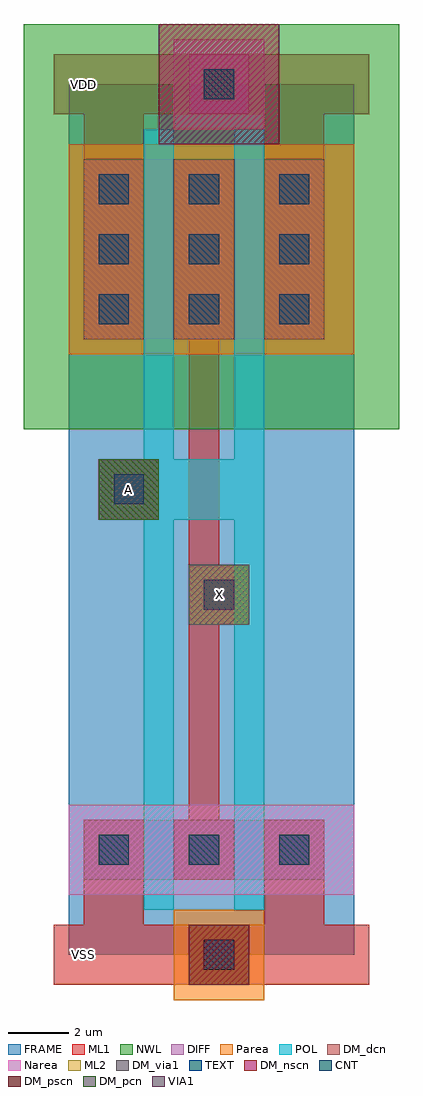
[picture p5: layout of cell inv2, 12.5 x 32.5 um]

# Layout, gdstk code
import gdstk
lib = gdstk.Library(unit=1e-6, precision=1e-09)
def R(c, l, rs):  # rectangles x0, y0, x1, y1
    for r in rs: c.add(gdstk.rectangle(r[:2], r[2:], *l))
NWL = (1, 0)
DIFF = (3, 0)
POL = (5, 0)
CNT = (7, 0)
ML1 = (8, 0)
VIA1 = (9, 0)
ML2 = (10, 0)
TEXT = (13, 0)
FRAME = (14, 0)
Parea = (18, 0)
Narea = (19, 0)
DM_dcn = (101, 0)
DM_pcn = (102, 0)
DM_nscn = (103, 0)
DM_pscn = (104, 0)
DM_via1 = (105, 0)

dcont = lib.new_cell('dcont')
R(dcont, DIFF, [(-1,-1,1,1)])
R(dcont, CNT, [(-0.5,-0.5,0.5,0.5)])
R(dcont, ML1, [(-1,-1,1,1)])
R(dcont, TEXT, [(-0.5,-0.5,0.5,0.5)])
R(dcont, DM_dcn, [(-1,-1,1,1)])
dcont.add(gdstk.Label('dcont', (0,0), layer=13, texttype=0))

nsubcont = lib.new_cell('nsubcont')
R(nsubcont, NWL, [(-2,-2,2,2)])
R(nsubcont, Narea, [(-1.5,-1.5,1.5,1.5)])
R(nsubcont, DM_nscn, [(-2,-2,2,2)])
nsubcont.add(gdstk.Reference(dcont, (0,0)))
nsubcont.add(gdstk.Label('NScont', (0,0), layer=13, texttype=0))

via = lib.new_cell('Via')
R(via, ML1, [(-1,-1,1,1)])
R(via, VIA1, [(-0.5,-0.5,0.5,0.5)])
R(via, ML2, [(-1,-1,1,1)])
R(via, TEXT, [(-0.5,-0.5,0.5,0.5)])
R(via, DM_via1, [(-1,-1,1,1)])
via.add(gdstk.Label('via', (0,0), layer=13, texttype=0))

psubcont = lib.new_cell('psubcont')
R(psubcont, Parea, [(-1.5,-1.5,1.5,1.5)])
R(psubcont, DM_pscn, [(-1,-1,1,1)])
psubcont.add(gdstk.Reference(dcont, (0,0)))
psubcont.add(gdstk.Label('PScon', (0,0), layer=13, texttype=0))

pcont = lib.new_cell('pcont')
R(pcont, POL, [(-1,-1,1,1)])
R(pcont, CNT, [(-0.5,-0.5,0.5,0.5)])
R(pcont, ML1, [(-1,-1,1,1)])
R(pcont, DM_pcn, [(-1,-1,1,1)])
pcont.add(gdstk.Label('pcont', (0,0), layer=13, texttype=0))

inv2 = lib.new_cell('inv2')
R(inv2, NWL, [(-1.5,17.5,11,31)])
R(inv2, DIFF, [(0.5,2.5,8.5,4.5), (0.5,20.5,8.5,26.5)])
R(inv2, ML1, [(-0.5,-1,10,1), (4,11,6,13), (1,14.5,3,16.5), (-0.5,28,10,30)])
R(inv2, ML2, [(4,11,6,13), (1,14.5,3,16.5)])
R(inv2, FRAME, [(0,0,9.5,29)])
R(inv2, Parea, [(0,20,9.5,27)])
R(inv2, Narea, [(0,2,9.5,5)])
R(inv2, DM_via1, [(4,11,6,13), (1,14.5,3,16.5)])
inv2.add(gdstk.FlexPath([(3,2),(3,15),(6,15)], 1, ends="extended", simple_path=True, layer=5, datatype=0))  # POL
inv2.add(gdstk.FlexPath([(3,27),(3,16),(6,16)], 1, ends="extended", simple_path=True, layer=5, datatype=0))  # POL
inv2.add(gdstk.FlexPath([(6,27),(6,2)], 1, ends="extended", simple_path=True, layer=5, datatype=0))  # POL
inv2.add(gdstk.FlexPath([(4.5,20.5),(4.5,3.8)], 1, ends="extended", simple_path=True, layer=8, datatype=0))  # ML1
inv2.add(gdstk.FlexPath([(4.5,22.3),(4.5,25.5)], 1.4, ends="extended", simple_path=True, layer=8, datatype=0))  # ML1
inv2.add(gdstk.FlexPath([(1.5,1),(1.5,3.5)], 2, ends="extended", simple_path=True, layer=8, datatype=0))  # ML1
inv2.add(gdstk.FlexPath([(1.5,21.5),(1.5,28.5)], 2, ends="extended", simple_path=True, layer=8, datatype=0))  # ML1
inv2.add(gdstk.FlexPath([(7.5,21.5),(7.5,28.5)], 2, ends="extended", simple_path=True, layer=8, datatype=0))  # ML1
inv2.add(gdstk.FlexPath([(7.5,1),(7.5,3.5)], 2, ends="extended", simple_path=True, layer=8, datatype=0))  # ML1
inv2.add(gdstk.Reference(dcont, (4.5,21.5)))
inv2.add(gdstk.Reference(dcont, (1.5,25.5)))
inv2.add(gdstk.Reference(dcont, (4.5,25.5)))
inv2.add(gdstk.Reference(dcont, (7.5,25.5)))
inv2.add(gdstk.Reference(nsubcont, (5,29)))
inv2.add(gdstk.Reference(via, (2,15.5)))
inv2.add(gdstk.Reference(dcont, (1.5,21.5)))
inv2.add(gdstk.Reference(dcont, (4.5,3.5)))
inv2.add(gdstk.Reference(via, (5,12)))
inv2.add(gdstk.Reference(dcont, (7.5,23.5)))
inv2.add(gdstk.Reference(dcont, (1.5,3.5)))
inv2.add(gdstk.Reference(dcont, (7.5,21.5)))
inv2.add(gdstk.Reference(dcont, (1.5,23.5)))
inv2.add(gdstk.Reference(psubcont, (5,0)))
inv2.add(gdstk.Reference(dcont, (4.5,23.5)))
inv2.add(gdstk.Reference(dcont, (7.5,3.5)))
inv2.add(gdstk.Reference(pcont, (2,15.5)))
inv2.add(gdstk.Label('VSS', (0.5,0), layer=8, texttype=0))
inv2.add(gdstk.Label('VDD', (0.5,29), layer=8, texttype=0))
inv2.add(gdstk.Label('A', (2,15.5), layer=10, texttype=0))
inv2.add(gdstk.Label('X', (5,12), layer=10, texttype=0))
inv2.add(gdstk.Label('via', (2,15.5), layer=13, texttype=0))
inv2.add(gdstk.Label('via', (5,12), layer=13, texttype=0))

lib.write_gds('inv2.gds')
